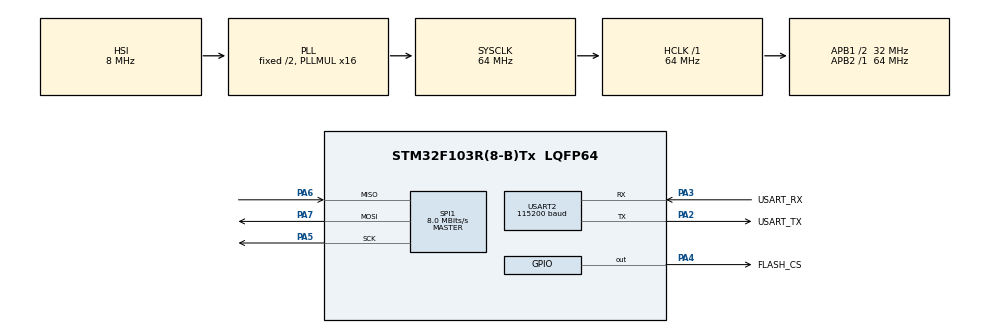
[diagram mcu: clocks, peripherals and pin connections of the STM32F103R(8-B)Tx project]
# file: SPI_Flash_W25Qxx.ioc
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Mcu.Family=STM32F1
Mcu.Name=STM32F103R(8-B)Tx
Mcu.Package=LQFP64
NVIC.PriorityGroup=NVIC_PRIORITYGROUP_4
PA13.GPIO_Label=TMS
PA13.Mode=Serial_Wire
PA13.Signal=SYS_JTMS-SWDIO
PA14.GPIO_Label=TCK
PA14.Mode=Serial_Wire
PA14.Signal=SYS_JTCK-SWCLK
PA2.GPIO_Label=USART_TX
PA2.GPIO_Mode=GPIO_MODE_AF_PP
PA2.GPIO_PuPd=GPIO_NOPULL
PA2.GPIO_Speed=GPIO_SPEED_FREQ_LOW
PA2.Mode=Asynchronous
PA2.Signal=USART2_TX
PA3.GPIO_Label=USART_RX
PA3.GPIO_PuPd=GPIO_NOPULL
PA3.GPIO_Speed=GPIO_SPEED_FREQ_LOW
PA3.Mode=Asynchronous
PA3.Signal=USART2_RX
PA4.GPIO_Label=FLASH_CS
PA4.GPIO_ModeDefaultOutputPP=GPIO_MODE_OUTPUT_PP
PA4.GPIO_PuPd=GPIO_NOPULL
PA4.GPIO_Speed=GPIO_SPEED_FREQ_HIGH
PA4.PinState=GPIO_PIN_SET
PA4.Signal=GPIO_Output
PA5.GPIO_Speed=GPIO_SPEED_FREQ_HIGH
PA5.Mode=Full_Duplex_Master
PA5.Signal=SPI1_SCK
PA6.GPIO_PuPd=GPIO_PULLUP
PA6.Mode=Full_Duplex_Master
PA6.Signal=SPI1_MISO
PA7.GPIO_Speed=GPIO_SPEED_FREQ_HIGH
PA7.Mode=Full_Duplex_Master
PA7.Signal=SPI1_MOSI
PB3.GPIO_Label=SWO
PB3.Signal=SYS_JTDO-TRACESWO
PC14-OSC32_IN.Mode=LSE-External-Oscillator
PC14-OSC32_IN.Signal=RCC_OSC32_IN
PC15-OSC32_OUT.Mode=LSE-External-Oscillator
PC15-OSC32_OUT.Signal=RCC_OSC32_OUT
PD0-OSC_IN.Mode=HSE-External-Clock-Source
PD0-OSC_IN.Signal=RCC_OSC_IN
PD1-OSC_OUT.Mode=HSE-External-Clock-Source
PD1-OSC_OUT.Signal=RCC_OSC_OUT
ProjectManager.HeapSize=0x200
ProjectManager.StackSize=0x400
ProjectManager.TargetToolchain=STM32CubeIDE
RCC.AHBFreq_Value=64000000
RCC.APB1CLKDivider=RCC_HCLK_DIV2
RCC.APB1Freq_Value=32000000
RCC.APB1TimFreq_Value=64000000
RCC.APB2Freq_Value=64000000
RCC.APB2TimFreq_Value=64000000
RCC.HCLKFreq_Value=64000000
RCC.PLLMUL=RCC_PLL_MUL16
RCC.RTCClockSelection=RCC_RTCCLKSOURCE_LSE
RCC.SYSCLKFreq_VALUE=64000000
RCC.SYSCLKSource=RCC_SYSCLKSOURCE_PLLCLK
RCC.USBFreq_Value=64000000
SPI1.BaudRatePrescaler=SPI_BAUDRATEPRESCALER_8
SPI1.CalculateBaudRate=8.0 MBits/s
SPI1.Direction=SPI_DIRECTION_2LINES
SPI1.Mode=SPI_MODE_MASTER
SPI1.VirtualType=VM_MASTER
USART2.BaudRate=115200
USART2.VirtualMode=VM_ASYNC
board=NUCLEO-F103RB

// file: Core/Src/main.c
/* USER CODE BEGIN Header */
/**
 ******************************************************************************
 * @file           : main.c
 * @brief          : Main program body
 ******************************************************************************
 * @attention
 *
 * Copyright (c) 2026 STMicroelectronics.
 * All rights reserved.
 *
 * This software is licensed under terms that can be found in the LICENSE file
 * in the root directory of this software component.
 * If no LICENSE file comes with this software, it is provided AS-IS.
 *
 ******************************************************************************
 */
/**
 * 05_SPI_Flash_W25Qxx_c  —  [계층: HAL]  SPI NOR Flash(W25Q16/32/64/128 등) 제어: ID 읽기, 소거, 페이지 프로그램, 읽기
 *
 * 배선 (W25Qxx 모듈, 3.3V): VCC=3.3V, GND, CLK=PA5, DI(MOSI)=PA7, DO(MISO)=PA6, CS=PA4.  /WP, /HOLD 는 3.3V 로 묶는다.
 *   PA5 는 LD2 와 같은 핀이라 전송 중 LED 가 흐릿하게 켜진다.
 *
 * NOR Flash 의 규칙 (내부 Flash 와 같다, 01_Flash_Write 참고)
 *   - 쓰기 = 비트를 1 -> 0 으로만 바꾼다. 다시 1 로 되돌리려면 **소거**(섹터 4KB 단위, 값이 0xFF 가 됨)가 필요하다.
 *   - **페이지 프로그램**은 한 번에 최대 256바이트, 페이지(256B) 경계를 넘으면 주소가 되감긴다.
 *   - 쓰기/소거는 시간이 걸린다(페이지 프로그램 약 0.7ms, 섹터 소거 약 45ms). 그동안 상태 레지스터의 **BUSY(WIP) 비트**를 폴링한다.
 *   - 모든 쓰기/소거 명령 전에는 **WEL(쓰기 허용)** 래치를 켜는 `0x06 Write Enable` 이 필요하고, 명령이 끝나면 자동으로 꺼진다.
 *
 * 사용하는 명령
 *   0x9F JEDEC ID (제조사, 종류, 용량: W25Q64 = EF 40 17, W25Q128 = EF 40 18),  0x05 Read Status-1 (bit0 = BUSY, bit1 = WEL),
 *   0x06 Write Enable,  0x20 Sector Erase(4KB),  0x02 Page Program,  0x03 Read Data,  0x4B Read Unique ID(64비트)
 *
 * 동작: JEDEC ID/용량/고유 ID 출력 -> 테스트 섹터(주소 0x001000, 4KB)를 소거 -> 소거 확인(전부 0xFF) -> 256바이트 패턴 프로그램
 *       -> 읽어서 비교. *** 주소 0x001000~0x001FFF 4KB 의 내용이 지워진다(다른 영역은 건드리지 않음). 중요한 데이터가 있으면 TEST_ADDR 변경. ***
 *
 * 인터럽트를 사용하지 않는다 (블로킹 SPI).
 */
/* USER CODE END Header */
#include "main.h"

/* USER CODE BEGIN Includes */
#include <stdio.h>
#include <string.h>
/* USER CODE END Includes */

/* USER CODE BEGIN PD */
#define TEST_ADDR 0x001000UL           /* 4KB 섹터 경계 */

#define CS_LOW()   HAL_GPIO_WritePin(FLASH_CS_GPIO_Port, FLASH_CS_Pin, GPIO_PIN_RESET)
#define CS_HIGH()  HAL_GPIO_WritePin(FLASH_CS_GPIO_Port, FLASH_CS_Pin, GPIO_PIN_SET)

/* USER CODE END PD */

SPI_HandleTypeDef hspi1;
UART_HandleTypeDef huart2;

void SystemClock_Config(void);
static void MX_GPIO_Init(void);
static void MX_SPI1_Init(void);
static void MX_USART2_UART_Init(void);

/* USER CODE BEGIN 0 */
static void print(const char *s) { HAL_UART_Transmit(&huart2, (uint8_t *)s, (uint16_t)strlen(s), 200); }

/* ---------------- 저수준: 명령 = CS Low -> 바이트들 -> CS High ---------------- */
static uint8_t read_status(void)
{
    uint8_t cmd = 0x05, sr = 0;
    CS_LOW();
    HAL_SPI_Transmit(&hspi1, &cmd, 1, 10);
    HAL_SPI_Receive(&hspi1, &sr, 1, 10);
    CS_HIGH();
    return sr;
}

static int wait_ready(uint32_t timeout_ms)
{
    uint32_t t0 = HAL_GetTick();
    while (read_status() & 0x01)                                   /* BUSY */
        if (HAL_GetTick() - t0 > timeout_ms) return 0;
    return 1;
}

static void write_enable(void)
{
    uint8_t cmd = 0x06;
    CS_LOW(); HAL_SPI_Transmit(&hspi1, &cmd, 1, 10); CS_HIGH();
}

static void read_jedec(uint8_t id[3])
{
    uint8_t cmd = 0x9F;
    CS_LOW(); HAL_SPI_Transmit(&hspi1, &cmd, 1, 10); HAL_SPI_Receive(&hspi1, id, 3, 10); CS_HIGH();
}

static void read_unique_id(uint8_t uid[8])
{
    uint8_t cmd[5] = { 0x4B, 0, 0, 0, 0 };                          /* 명령 + 더미 4바이트 */
    CS_LOW(); HAL_SPI_Transmit(&hspi1, cmd, 5, 10); HAL_SPI_Receive(&hspi1, uid, 8, 10); CS_HIGH();
}

static int sector_erase(uint32_t addr)
{
    uint8_t cmd[4] = { 0x20, (uint8_t)(addr >> 16), (uint8_t)(addr >> 8), (uint8_t)addr };
    write_enable();
    CS_LOW(); HAL_SPI_Transmit(&hspi1, cmd, 4, 10); CS_HIGH();
    return wait_ready(500);                                        /* 4KB 소거 전형 45ms, 최대 400ms */
}

static int page_program(uint32_t addr, const uint8_t *data, uint16_t len)   /* len <= 256, 페이지 경계 넘지 말 것 */
{
    uint8_t cmd[4] = { 0x02, (uint8_t)(addr >> 16), (uint8_t)(addr >> 8), (uint8_t)addr };
    write_enable();
    CS_LOW();
    HAL_SPI_Transmit(&hspi1, cmd, 4, 10);
    HAL_SPI_Transmit(&hspi1, (uint8_t *)data, len, 50);
    CS_HIGH();
    return wait_ready(10);                                         /* 페이지 프로그램 전형 0.7ms, 최대 3ms */
}

static void read_data(uint32_t addr, uint8_t *buf, uint16_t len)
{
    uint8_t cmd[4] = { 0x03, (uint8_t)(addr >> 16), (uint8_t)(addr >> 8), (uint8_t)addr };
    CS_LOW();
    HAL_SPI_Transmit(&hspi1, cmd, 4, 10);
    HAL_SPI_Receive(&hspi1, buf, len, 100);                        /* 주소가 자동으로 증가하며 연속으로 읽힌다 */
    CS_HIGH();
}
/* USER CODE END 0 */

int main(void)
{

  /* MCU Configuration--------------------------------------------------------*/

  /* Reset of all peripherals, Initializes the Flash interface and the Systick. */
  HAL_Init();

  /* Configure the system clock */
  SystemClock_Config();

  /* Initialize all configured peripherals */
  MX_GPIO_Init();
  MX_SPI1_Init();
  MX_USART2_UART_Init();
  /* USER CODE BEGIN 2 */
  char m[128];
  uint8_t id[3];
  read_jedec(id);
  if (id[0] == 0x00 || id[0] == 0xFF)
  {
      print("\r\nno SPI flash detected (JEDEC ID = 00/FF): check wiring/CS\r\n");
      Error_Handler();
  }
  uint32_t cap_kb = (id[2] >= 0x11 && id[2] < 0x20) ? (1UL << (id[2] - 10)) : 0;   /* 용량 코드 n -> 2^n 바이트 */
  uint8_t uid[8];
  read_unique_id(uid);
  snprintf(m, sizeof m, "\r\nJEDEC ID = %02X %02X %02X  (mfr 0x%02X%s, capacity %lu KB)\r\n", id[0], id[1], id[2], id[0],
           id[0] == 0xEF ? " = Winbond" : "", (unsigned long)cap_kb);
  print(m);
  snprintf(m, sizeof m, "unique ID = %02X%02X%02X%02X%02X%02X%02X%02X\r\n", uid[0], uid[1], uid[2], uid[3], uid[4], uid[5], uid[6], uid[7]);
  print(m);

  /* 1) 섹터 소거 */
  uint32_t t0 = HAL_GetTick();
  int ok = sector_erase(TEST_ADDR);
  uint32_t t_erase = HAL_GetTick() - t0;

  /* 2) 소거 확인: 4KB 가 전부 0xFF */
  uint8_t buf[256];
  int erased = ok;
  for (uint32_t off = 0; off < 4096 && erased; off += 256)
  {
      read_data(TEST_ADDR + off, buf, 256);
      for (int i = 0; i < 256; i++) if (buf[i] != 0xFF) { erased = 0; break; }
  }

  /* 3) 페이지 프로그램 + 4) 읽어서 비교 */
  uint8_t pat[256], back[256];
  for (int i = 0; i < 256; i++) pat[i] = (uint8_t)(i ^ 0xA5);
  t0 = HAL_GetTick();
  int okp = erased && page_program(TEST_ADDR, pat, 256);
  uint32_t t_prog = HAL_GetTick() - t0;
  read_data(TEST_ADDR, back, 256);
  int match = okp && (memcmp(pat, back, 256) == 0);

  snprintf(m, sizeof m, "sector erase %s (%lu ms), erased-check %s, page program %s (%lu ms), verify %s\r\n",
           ok ? "ok" : "TIMEOUT", (unsigned long)t_erase, erased ? "OK" : "FAIL",
           okp ? "ok" : "FAIL", (unsigned long)t_prog, match ? "PASS" : "FAIL");
  print(m);
  /* USER CODE END 2 */

  /* Infinite loop */
  while (1)
  {

    /* USER CODE BEGIN 3 */
    HAL_Delay(1000);
  }
  /* USER CODE END 3 */
}

void SystemClock_Config(void)
{
  RCC_OscInitTypeDef RCC_OscInitStruct = {0};
  RCC_ClkInitTypeDef RCC_ClkInitStruct = {0};

  /** Initializes the RCC Oscillators according to the specified parameters
  * in the RCC_OscInitTypeDef structure.
  */
  RCC_OscInitStruct.OscillatorType = RCC_OSCILLATORTYPE_HSI;
  RCC_OscInitStruct.HSIState = RCC_HSI_ON;
  RCC_OscInitStruct.HSICalibrationValue = RCC_HSICALIBRATION_DEFAULT;
  RCC_OscInitStruct.PLL.PLLState = RCC_PLL_ON;
  RCC_OscInitStruct.PLL.PLLSource = RCC_PLLSOURCE_HSI_DIV2;
  RCC_OscInitStruct.PLL.PLLMUL = RCC_PLL_MUL16;
  if (HAL_RCC_OscConfig(&RCC_OscInitStruct) != HAL_OK)
  {
    Error_Handler();
  }

  /** Initializes the CPU, AHB and APB buses clocks
  */
  RCC_ClkInitStruct.ClockType = RCC_CLOCKTYPE_HCLK|RCC_CLOCKTYPE_SYSCLK
                              |RCC_CLOCKTYPE_PCLK1|RCC_CLOCKTYPE_PCLK2;
  RCC_ClkInitStruct.SYSCLKSource = RCC_SYSCLKSOURCE_PLLCLK;
  RCC_ClkInitStruct.AHBCLKDivider = RCC_SYSCLK_DIV1;
  RCC_ClkInitStruct.APB1CLKDivider = RCC_HCLK_DIV2;
  RCC_ClkInitStruct.APB2CLKDivider = RCC_HCLK_DIV1;

  if (HAL_RCC_ClockConfig(&RCC_ClkInitStruct, FLASH_LATENCY_2) != HAL_OK)
  {
    Error_Handler();
  }
}

static void MX_GPIO_Init(void)
{
  GPIO_InitTypeDef GPIO_InitStruct = {0};

  /* GPIO Ports Clock Enable */
  __HAL_RCC_GPIOC_CLK_ENABLE();
  __HAL_RCC_GPIOD_CLK_ENABLE();
  __HAL_RCC_GPIOA_CLK_ENABLE();
  __HAL_RCC_GPIOB_CLK_ENABLE();

  /*Configure GPIO pin Output Level */
  HAL_GPIO_WritePin(FLASH_CS_GPIO_Port, FLASH_CS_Pin, GPIO_PIN_SET);

  /*Configure GPIO pin : FLASH_CS_Pin */
  GPIO_InitStruct.Pin = FLASH_CS_Pin;
  GPIO_InitStruct.Mode = GPIO_MODE_OUTPUT_PP;
  GPIO_InitStruct.Pull = GPIO_NOPULL;
  GPIO_InitStruct.Speed = GPIO_SPEED_FREQ_HIGH;
  HAL_GPIO_Init(FLASH_CS_GPIO_Port, &GPIO_InitStruct);

}

static void MX_SPI1_Init(void)
{

  /* SPI1 parameter configuration*/
  hspi1.Instance = SPI1;
  hspi1.Init.Mode = SPI_MODE_MASTER;
  hspi1.Init.Direction = SPI_DIRECTION_2LINES;
  hspi1.Init.DataSize = SPI_DATASIZE_8BIT;
  hspi1.Init.CLKPolarity = SPI_POLARITY_LOW;
  hspi1.Init.CLKPhase = SPI_PHASE_1EDGE;
  hspi1.Init.NSS = SPI_NSS_SOFT;
  hspi1.Init.BaudRatePrescaler = SPI_BAUDRATEPRESCALER_8;
  hspi1.Init.FirstBit = SPI_FIRSTBIT_MSB;
  hspi1.Init.TIMode = SPI_TIMODE_DISABLE;
  hspi1.Init.CRCCalculation = SPI_CRCCALCULATION_DISABLE;
  hspi1.Init.CRCPolynomial = 10;
  if (HAL_SPI_Init(&hspi1) != HAL_OK)
  {
    Error_Handler();
  }

}

static void MX_USART2_UART_Init(void)
{

  huart2.Instance = USART2;
  huart2.Init.BaudRate = 115200;
  huart2.Init.WordLength = UART_WORDLENGTH_8B;
  huart2.Init.StopBits = UART_STOPBITS_1;
  huart2.Init.Parity = UART_PARITY_NONE;
  huart2.Init.Mode = UART_MODE_TX_RX;
  huart2.Init.HwFlowCtl = UART_HWCONTROL_NONE;
  huart2.Init.OverSampling = UART_OVERSAMPLING_16;
  if (HAL_UART_Init(&huart2) != HAL_OK)
  {
    Error_Handler();
  }

}

void Error_Handler(void)
{
  __disable_irq();
  while (1) {
  }
}
#ifdef USE_FULL_ASSERT
/**
  * @brief  Reports the name of the source file and the source line number
  *         where the assert_param error has occurred.
  * @param  file: pointer to the source file name
  * @param  line: assert_param error line source number
  * @retval None
  */
void assert_failed(uint8_t *file, uint32_t line)
{
  /* USER CODE BEGIN 6 */
  /* User can add his own implementation to report the file name and line
     number, ex: printf("Wrong parameters value: file %s on line %d\r\n", file,
     line) */
  /* USER CODE END 6 */
}
#endif /* USE_FULL_ASSERT */
